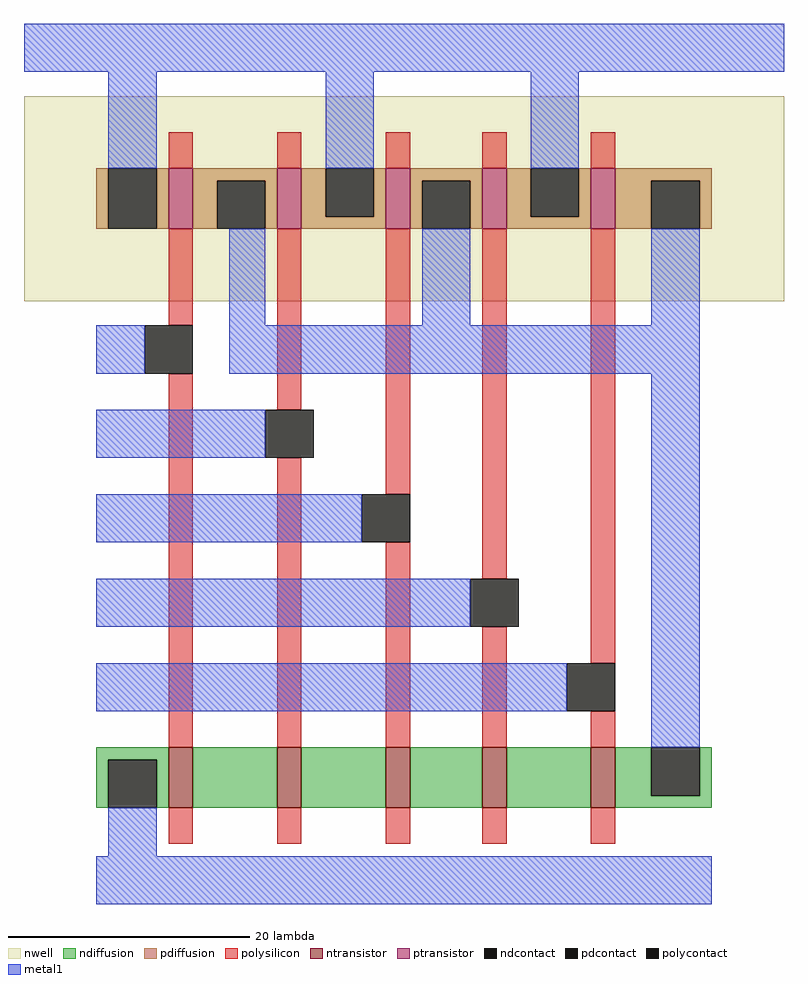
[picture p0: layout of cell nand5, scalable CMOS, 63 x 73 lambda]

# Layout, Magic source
magic
tech scmos
<< nwell >>
rect 0 -1 63 16
<< ntransistor >>
rect 12 -43 14 -38
rect 21 -43 23 -38
rect 30 -43 32 -38
rect 38 -43 40 -38
rect 47 -43 49 -38
<< ptransistor >>
rect 12 5 14 10
rect 21 5 23 10
rect 30 5 32 10
rect 38 5 40 10
rect 47 5 49 10
<< ndiffusion >>
rect 6 -39 12 -38
rect 6 -43 7 -39
rect 11 -43 12 -39
rect 14 -43 21 -38
rect 23 -43 30 -38
rect 32 -43 38 -38
rect 40 -43 47 -38
rect 49 -42 52 -38
rect 56 -42 57 -38
rect 49 -43 57 -42
<< pdiffusion >>
rect 6 5 7 10
rect 11 5 12 10
rect 14 9 21 10
rect 14 5 16 9
rect 20 5 21 9
rect 23 6 25 10
rect 29 6 30 10
rect 23 5 30 6
rect 32 9 38 10
rect 32 5 33 9
rect 37 5 38 9
rect 40 6 42 10
rect 46 6 47 10
rect 40 5 47 6
rect 49 9 57 10
rect 49 5 52 9
rect 56 5 57 9
<< ndcontact >>
rect 7 -43 11 -39
rect 52 -42 56 -38
<< pdcontact >>
rect 7 5 11 10
rect 16 5 20 9
rect 25 6 29 10
rect 33 5 37 9
rect 42 6 46 10
rect 52 5 56 9
<< polysilicon >>
rect 12 10 14 13
rect 21 10 23 13
rect 30 10 32 13
rect 38 10 40 13
rect 47 10 49 13
rect 12 -3 14 5
rect 12 -38 14 -7
rect 21 -10 23 5
rect 21 -38 23 -14
rect 30 -17 32 5
rect 30 -38 32 -21
rect 38 -24 40 5
rect 38 -38 40 -28
rect 47 -31 49 5
rect 47 -38 49 -35
rect 12 -46 14 -43
rect 21 -46 23 -43
rect 30 -46 32 -43
rect 38 -46 40 -43
rect 47 -46 49 -43
<< polycontact >>
rect 10 -7 14 -3
rect 20 -14 24 -10
rect 28 -21 32 -17
rect 37 -28 41 -24
rect 45 -35 49 -31
<< metal1 >>
rect 0 18 63 22
rect 7 10 11 18
rect 25 10 29 18
rect 42 10 46 18
rect 17 -3 20 5
rect 33 -3 37 5
rect 52 -3 56 5
rect 6 -7 10 -3
rect 17 -7 56 -3
rect 6 -14 20 -10
rect 6 -21 28 -17
rect 6 -28 37 -24
rect 6 -35 45 -31
rect 52 -38 56 -7
rect 7 -47 11 -43
rect 6 -51 57 -47
<< end >>
